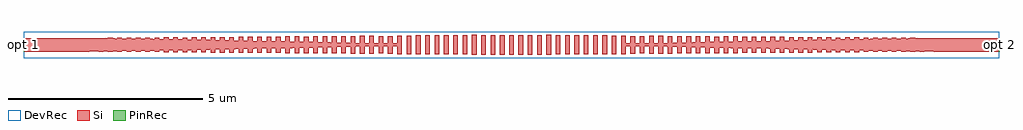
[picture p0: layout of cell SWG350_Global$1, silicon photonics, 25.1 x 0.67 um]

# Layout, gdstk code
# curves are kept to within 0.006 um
import gdstk
lib = gdstk.Library(unit=1e-6, precision=1e-09)
def R(c, l, rs):  # rectangles x0, y0, x1, y1
    for r in rs: c.add(gdstk.rectangle(r[:2], r[2:], *l))
def A(c, l, x, y, w, h, nx, ny, dx, dy):  # array of equal rectangles
    R(c, l, [(x+i*dx, y+j*dy, x+i*dx+w, y+j*dy+h) for i in range(nx) for j in range(ny)])
def P(c, l, *ps):  # polygons
    for p in ps: c.add(gdstk.Polygon(p, *l))
Si = (1, 0)
PinRec = (1, 10)
DevRec = (68, 0)

swg350_global_1 = lib.new_cell('SWG350_Global$1')
A(swg350_global_1, Si, -28.23, -219.91, 0.12, 0.5, 4, 1, 0.24, 0)
A(swg350_global_1, Si, -27.51, -219.91, 0.12, 0.5, 4, 1, 0.24, 0)
R(swg350_global_1, Si, [(-28.47,-219.913,-28.35,-219.407), (-26.55,-219.913,-26.43,-219.407), (-29.19,-219.906,-29.07,-219.414), (-25.83,-219.906,-25.71,-219.414), (-28.95,-219.904,-28.83,-219.416), (-26.07,-219.904,-25.95,-219.416), (-28.71,-219.903,-28.59,-219.417), (-26.31,-219.903,-26.19,-219.417), (-29.91,-219.902,-29.79,-219.418), (-29.67,-219.902,-29.55,-219.418), (-25.35,-219.902,-25.23,-219.418), (-25.11,-219.902,-24.99,-219.418), (-29.43,-219.9,-29.31,-219.42), (-25.59,-219.9,-25.47,-219.42), (-30.39,-219.897,-30.27,-219.423), (-30.15,-219.897,-30.03,-219.423), (-24.87,-219.897,-24.75,-219.423), (-24.63,-219.897,-24.51,-219.423), (-31.11,-219.888,-30.99,-219.432), (-23.91,-219.888,-23.79,-219.432), (-31.35,-219.887,-31.23,-219.433), (-23.67,-219.887,-23.55,-219.433), (-30.63,-219.886,-30.51,-219.434), (-24.39,-219.886,-24.27,-219.434), (-31.59,-219.884,-31.47,-219.436), (-23.43,-219.884,-23.31,-219.436), (-32.31,-219.882,-32.19,-219.438), (-30.87,-219.882,-30.75,-219.438), (-24.15,-219.882,-24.03,-219.438), (-22.71,-219.882,-22.59,-219.438), (-32.07,-219.881,-31.95,-219.439), (-31.83,-219.881,-31.71,-219.439), (-23.19,-219.881,-23.07,-219.439), (-22.95,-219.881,-22.83,-219.439), (-32.55,-219.876,-32.43,-219.444), (-22.47,-219.876,-22.35,-219.444), (-33.27,-219.875,-33.15,-219.445), (-21.75,-219.875,-21.63,-219.445), (-33.03,-219.874,-32.91,-219.446), (-21.99,-219.874,-21.87,-219.446), (-32.79,-219.871,-32.67,-219.449), (-22.23,-219.871,-22.11,-219.449), (-33.99,-219.868,-33.87,-219.452), (-21.03,-219.868,-20.91,-219.452), (-34.23,-219.866,-34.11,-219.454), (-20.79,-219.866,-20.67,-219.454), (-33.75,-219.865,-33.63,-219.455), (-21.27,-219.865,-21.15,-219.455), (-33.51,-219.864,-33.39,-219.456), (-21.51,-219.864,-21.39,-219.456), (-34.47,-219.861,-34.35,-219.459), (-20.55,-219.861,-20.43,-219.459), (-35.19,-219.86,-35.07,-219.46), (-19.83,-219.86,-19.71,-219.46), (-34.95,-219.859,-34.83,-219.461), (-20.07,-219.859,-19.95,-219.461), (-34.71,-219.858,-34.59,-219.462), (-20.31,-219.858,-20.19,-219.462), (-35.43,-219.856,-35.31,-219.464), (-19.59,-219.856,-19.47,-219.464), (-35.67,-219.851,-35.55,-219.469), (-19.35,-219.851,-19.23,-219.469), (-36.39,-219.849,-36.27,-219.471), (-18.63,-219.849,-18.51,-219.471), (-36.15,-219.848,-36.03,-219.472), (-18.87,-219.848,-18.75,-219.472), (-35.91,-219.847,-35.79,-219.473), (-19.11,-219.847,-18.99,-219.473), (-36.63,-219.845,-36.51,-219.475), (-18.39,-219.845,-18.27,-219.475), (-36.87,-219.843,-36.75,-219.477), (-18.15,-219.843,-18.03,-219.477), (-37.35,-219.841,-37.23,-219.479), (-37.11,-219.841,-36.99,-219.479), (-17.91,-219.841,-17.79,-219.479), (-17.67,-219.841,-17.55,-219.479), (-37.59,-219.84,-37.47,-219.48), (-17.43,-219.84,-17.31,-219.48), (-37.83,-219.836,-37.71,-219.484), (-17.19,-219.836,-17.07,-219.484), (-39.99,-219.835,-38.31,-219.485), (-16.59,-219.835,-14.91,-219.485), (-38.07,-219.834,-37.95,-219.486), (-16.95,-219.834,-16.83,-219.486)])
P(swg350_global_1, Si, [(-38.31,-219.835),(-38.31,-219.485),(-32.596,-219.583),(-31.29,-219.619),(-30.31,-219.62),(-30.31,-219.7),(-31.29,-219.701),(-32.596,-219.737)],
  [(-16.59,-219.835),(-22.304,-219.737),(-23.61,-219.701),(-24.59,-219.7),(-24.59,-219.62),(-23.61,-219.619),(-22.304,-219.583),(-16.59,-219.485)])
R(swg350_global_1, DevRec, [(-39.99,-220,-14.91,-219.33)])
swg350_global_1.add(gdstk.FlexPath([(-39.98,-219.66),(-40,-219.66)], 0.35, ends="flush", simple_path=True, layer=1, datatype=10))  # PinRec
swg350_global_1.add(gdstk.FlexPath([(-14.92,-219.66),(-14.9,-219.66)], 0.35, ends="flush", simple_path=True, layer=1, datatype=10))  # PinRec
swg350_global_1.add(gdstk.Label('opt 1', (-39.99,-219.66), layer=1, texttype=10))
swg350_global_1.add(gdstk.Label('opt 2', (-14.91,-219.66), layer=1, texttype=10))

lib.write_gds('SWG350_Global_1.gds')
